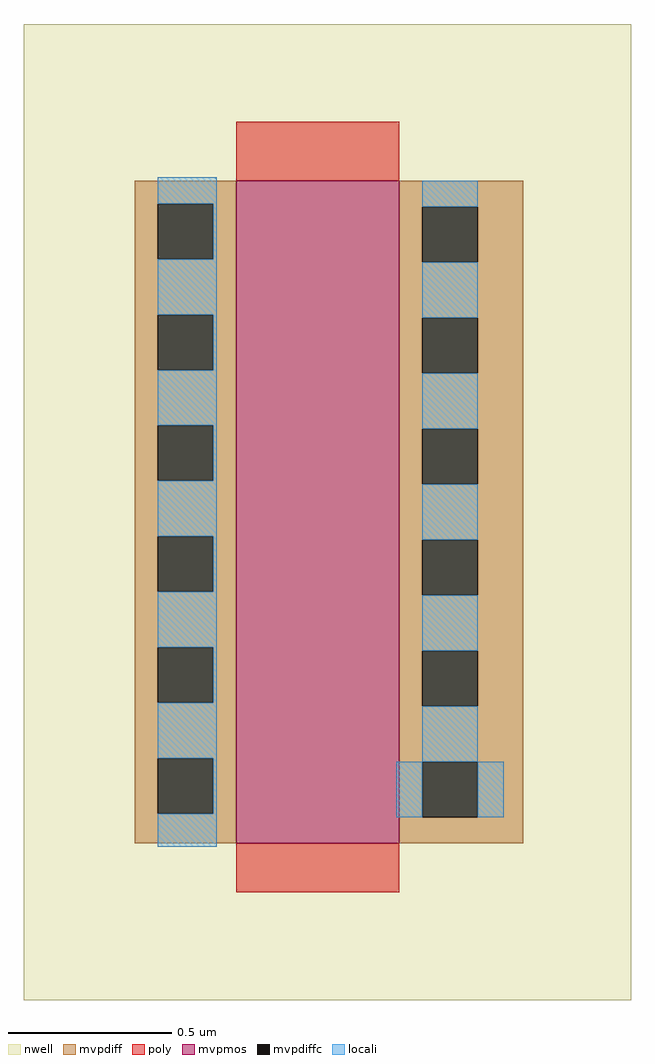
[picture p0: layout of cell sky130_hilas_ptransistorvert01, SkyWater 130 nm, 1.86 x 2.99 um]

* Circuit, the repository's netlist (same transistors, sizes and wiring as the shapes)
* Copyright 2020 The Hilas PDK Authors
* 
* This file is part of HILAS.
* 
* HILAS is free software: you can redistribute it and/or modify
* it under the terms of the GNU Lesser General Public License as published by
* the Free Software Foundation, version 3 of the License.
* 
* HILAS is distributed in the hope that it will be useful,
* but WITHOUT ANY WARRANTY; without even the implied warranty of
* MERCHANTABILITY or FITNESS FOR A PARTICULAR PURPOSE.  See the
* GNU Lesser General Public License for more details.
* 
* You should have received a copy of the GNU Lesser General Public License
* along with HILAS.  If not, see <https://www.gnu.org/licenses/>.
* 
* Licensed under the Lesser General Public License, Version 3.0 (the "License");
* you may not use this file except in compliance with the License.
* You may obtain a copy of the License at
* 
* https://www.gnu.org/licenses/lgpl-3.0.en.html
* 
* Unless required by applicable law or agreed to in writing, software
* distributed under the License is distributed on an "AS IS" BASIS,
* WITHOUT WARRANTIES OR CONDITIONS OF ANY KIND, either express or implied.
* See the License for the specific language governing permissions and
* limitations under the License.
* 
* SPDX-License-Identifier: LGPL-3.0
* 
* 

* NGSPICE file created from sky130_hilas_pTransistorVert01.ext - technology: sky130A


* Top level circuit sky130_hilas_pTransistorVert01

X0 a_n496_n792# a_n596_n822# a_n658_n792# w_n726_n888# sky130_fd_pr__pfet_g5v0d10v5 w=2.03e+06u l=500000u
.end

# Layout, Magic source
magic
tech sky130A
<< nwell >>
rect -363 -444 -177 -145
<< mvpmos >>
rect -298 -396 -248 -193
<< mvpdiff >>
rect -329 -200 -298 -193
rect -329 -217 -322 -200
rect -305 -217 -298 -200
rect -329 -234 -298 -217
rect -329 -251 -322 -234
rect -305 -251 -298 -234
rect -329 -268 -298 -251
rect -329 -285 -322 -268
rect -305 -285 -298 -268
rect -329 -302 -298 -285
rect -329 -319 -322 -302
rect -305 -319 -298 -302
rect -329 -336 -298 -319
rect -329 -353 -322 -336
rect -305 -353 -298 -336
rect -329 -370 -298 -353
rect -329 -387 -322 -370
rect -305 -387 -298 -370
rect -329 -396 -298 -387
rect -248 -201 -210 -193
rect -248 -218 -241 -201
rect -224 -218 -210 -201
rect -248 -235 -210 -218
rect -248 -252 -241 -235
rect -224 -252 -210 -235
rect -248 -269 -210 -252
rect -248 -286 -241 -269
rect -224 -286 -210 -269
rect -248 -303 -210 -286
rect -248 -320 -241 -303
rect -224 -320 -210 -303
rect -248 -337 -210 -320
rect -248 -354 -241 -337
rect -224 -354 -210 -337
rect -248 -371 -210 -354
rect -248 -388 -241 -371
rect -224 -388 -210 -371
rect -248 -396 -210 -388
<< mvpdiffc >>
rect -322 -217 -305 -200
rect -322 -251 -305 -234
rect -322 -285 -305 -268
rect -322 -319 -305 -302
rect -322 -353 -305 -336
rect -322 -387 -305 -370
rect -241 -218 -224 -201
rect -241 -252 -224 -235
rect -241 -286 -224 -269
rect -241 -320 -224 -303
rect -241 -354 -224 -337
rect -241 -388 -224 -371
<< poly >>
rect -298 -193 -248 -175
rect -298 -411 -248 -396
<< locali >>
rect -322 -200 -304 -192
rect -305 -217 -304 -200
rect -322 -234 -304 -217
rect -305 -251 -304 -234
rect -322 -268 -304 -251
rect -305 -285 -304 -268
rect -322 -302 -304 -285
rect -305 -319 -304 -302
rect -322 -336 -304 -319
rect -305 -353 -304 -336
rect -322 -370 -304 -353
rect -305 -387 -304 -370
rect -241 -201 -224 -193
rect -241 -235 -224 -218
rect -241 -269 -224 -252
rect -241 -303 -224 -286
rect -241 -337 -224 -320
rect -241 -371 -224 -354
rect -322 -397 -304 -387
rect -249 -388 -241 -371
rect -224 -388 -216 -371
<< end >>
